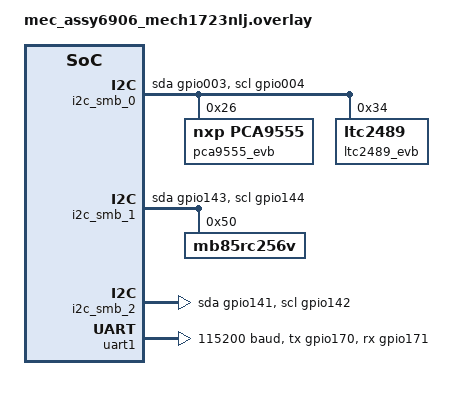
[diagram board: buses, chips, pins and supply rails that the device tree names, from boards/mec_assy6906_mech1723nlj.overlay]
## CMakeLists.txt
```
#-------------------------------------------------------------------------------
# Zephyr Example Application
#
# Copyright (c) 2025 Microchip Technology Inc.
# SPDX-License-Identifier: Apache-2.0

cmake_minimum_required(VERSION 3.13.1)
find_package(Zephyr REQUIRED HINTS $ENV{ZEPHYR_BASE})

project(app LANGUAGES C)

target_sources(app PRIVATE src/main.c)
target_sources_ifdef(CONFIG_I2C_TARGET app PRIVATE src/app_i2c_target1.c)
```

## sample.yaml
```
# This file is provided so that the application can be compiled using Twister,
# the Zephyr testing tool. In this file, multiple combinations can be specified,
# so that you can easily test all of them locally or in CI.
sample:
  description: Example I2C application
  name: example-i2c-application
common:
  build_only: true
  platform_allow:
    - mec_assy6941/mec1743_qlj
    - mec_assy6941/mec1743_qsz
    - mec_assy6941/mec1753_qlj
    - mec_assy6941/mec1753_qsz
tests:
  app.default: {}
  app.debug:
    extra_overlay_confs:
      - debug.conf
```

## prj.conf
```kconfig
# Copyright (c) 2025 Microchip Technology Inc.
# SPDX-License-Identifier: Apache-2.0
#
# This file contains selected Kconfig options for the application.

CONFIG_LOG=y
CONFIG_LOG_MODE_IMMEDIATE=y
CONFIG_LOG_BACKEND_UART=y

CONFIG_DMA=y

CONFIG_I2C=y
#CONFIG_I2C_CALLBACK=y

# CONFIG_DEBUG=y
```

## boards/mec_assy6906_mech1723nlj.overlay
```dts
/*
 * Copyright (c) 2025 Microchip Technology Inc.
 * SPDX-License-Identifier: Apache-2.0
 */

#include <zephyr/dt-bindings/gpio/gpio.h>
#include <zephyr/dt-bindings/gpio/microchip-xec-gpio.h>

/*
 * MEC5_ASSY6906 with MEC5200M-LJ part.
 * JP6 2-3 GPIO074 (BSS_STRAP) pulled-down via 10K to ground selects
 *   Boot-ROM load from Shared-SPI.
 * JP7 No jumper
 * JP23 14-15 selects GPIO055 as SHD_nCS0
 * JP42 1-2 connects 1.8V
 * JP60 2-3 VTR2 is powered by 1.8V
 * NOTE: VTR3 is always 1.8V
 *
 * GPIO175/CMP_VOUT1/PWM8_ALT on schematic, LED4 on silkscreen.
 *
 * I2C00_SDA/SCL = GPIO003/004
 * Install Jumper JP15 4-5 to route GPIO004 as I2C00_SCL/UART2_DCD
 * Install Jumper JP15 7-8 to route GPIO003 as I2C00_SDA/UART2_RI
 * Install Jumper JP27 34-35 to select I2C00_SDA
 * Install Jumper JP27 31-32 to select I2C00_SCL
 * Install Jumper JP70 19-20 7.5K pull-up to VTR1 for I2C00_SDA
 * Install Jumper JP70 21-22 7.5K pull-up to VTR1 for I2C00_SCL
 *
 * U4 is PCA9555 I2C GPIO expander
 * JP52 1-2 use +3.3V_STBY
 * JP61 1-2, 3-4 connect I2C00_SCL and I2C00_SDA to EXTERNAL_SCLK/SDATA
 * JP55 selects I2C address
 * 1-2 = A0, 3-4 = A1, 5-6 = A2 all pull-up by default. Install jumper to ground signals.
 * Installed jumper on JP55 1-2. I2C Address = 0x26
 *
 * U19 is LTC2489 I2C 4-channel delta-sigma ADC
 * Address select pins CA0, CA1 both pulled high. Install jumpers to ground signals.
 * Installed jumpers on JP124 1-2 and 3-4. I2C Address = 0x34
 *
 * Attached Fujitsu MB85RC256V I2C FRAM demo board to 6-pin header J17
 * AdaFruit I2C FRAM breakout board.
 * NOTE: removed demo board 1K pulls on SCL and SDA. Using EVB pulls on SCL/SDA.
 * This device allows testing of larger I2C messages and breaking up large transactions
 * into multiple message buffers.
 * FRAM board power -> J17-5 VTR1 (3.3V)
 * FRAM board GND   -> J17-6 GND
 * FRAM board SCL   -> J17-1 I2C00_SCL
 * FRAM board SDA   -> J17-3 I2C00_SDA
 * FRAM address pins A0, A1, A2 are internally pulled-down.
 * I2C Address = 1010_A2_A1_A0 = 0x50 (default)
 *
 * JP14 3x6
 * 4-5 GPIO004 I2C00_SCL
 * 7-8 GPIO003 I2C00_SDA
 *
 * JP58
 * 1-2 GPIO004 I2C00_SCL to EXTERNAL_SCLK
 * 3-4 GPIO003 I2C00_SDA to EXTERNAL_SDA
 *
 * EXTERNAL_SCLK, EXTERNAL_SDA are connected to
 * U4 PCA9555PW I2C to GPIO expander
 * U19 LTC2489CDE ADC
 *
 * JP17 3x8
 *  19-20 GPIO144 I2C04_SCL
 *  22-23 GPIO143 I2C04_SDA
 *
 * JP22 3x4
 *  1-2 GPIO144 I2C04_SCL
 *  4-5 GPIO143 I2C04_SDA
 *
 * pull-ups. For I2C_TARGET tests only connect one set up pull-ups
 * since we are connecting I2C port 0 and port 4 together.
 * JP68 19-20 I2C00_SDA connected via 7.5K pull-up to VTR1
 * JP68 21-22 I2C00_SCL connected via 7.5K pull-up to VTR1
 * JP70 25-26 I2C04_SDA connected via 7.5K pull-up to VTR1
 * JP70 27-28 I2C04_SCL connected via 7.5K pull-up to VTR1
 *
 * I2C Port 4 is on VTR1. 1x6 header J14
 * 1 = I2C04_SCL
 * 2, 6 = GND
 * 3 = I2C04_SDA
 * 4 = NC
 * 5 = VTR1
 *
 * I2C Port 0 is on VTR1. 1x6 header J10
 * 1 = I2C00_SCL
 * 2, 6 = GND
 * 3 = I2C00_SDA
 * 4 = NC
 * 5 = VTR1
 *
 * Use I2C00 port on I2C00 device as external Controller
 * Use I2C04 port on I2C01 device as target
 * Add wires:
 * J17-1 to J12-1
 * J17-3 to J12-3
 * Disable pull-ups on I2C00 port:
 * Remove jumpers JP70 19-20 and 21-22
 */

/ {
	aliases {
		i2c0 = &i2c_smb_0;
		i2c-0 = &i2c_smb_0;
		i2c1 = &i2c_smb_1;
		i2c-1 = &i2c_smb_1;
		i2c2 = &i2c_smb_2;
		i2c-2 = &i2c_smb_2;
	};

	zephyr,user {
		pinctrl-0 = <&tst_clk_out_gpio060>;
		pinctrl-names = "default";
	};
};

&dmac {
	compatible = "microchip,mec5-dmac";
	status = "okay";
};

/* I2C Port 0 */
/*	drive-strength = "4x"; */
&i2c00_scl_gpio004 {
	drive-open-drain;
	output-enable;
	output-high;
	drive-strength = "4x";
};
&i2c00_sda_gpio003 {
	drive-open-drain;
	output-enable;
	output-high;
	drive-strength = "4x";
};

/* I2C Port 4 */
&i2c04_sda_gpio143 {
	drive-open-drain;
	output-enable;
	output-high;
	drive-strength = "4x";
};
&i2c04_scl_gpio144 {
	drive-open-drain;
	output-enable;
	output-high;
	drive-strength = "4x";
};

/* I2C Port 5 */
&i2c05_sda_gpio141 {
	drive-open-drain;
	output-enable;
	output-high;
	drive-strength = "4x";
};
&i2c05_scl_gpio142 {
	drive-open-drain;
	output-enable;
	output-high;
	drive-strength = "4x";
};

&i2c_smb_0 {
	compatible = "microchip,mec5-i2c";
	status = "okay";
	port_sel = < 0 >;
	sda-gpios = < MCHP_GPIO_DECODE_003 0 >;
	scl-gpios = < MCHP_GPIO_DECODE_004 0 >;
	pinctrl-0 = < &i2c00_sda_gpio003 &i2c00_scl_gpio004 >;
	pinctrl-names = "default";

	pca9555_evb: pca9555@26 {
		/* Zephyr will load NXP PCA9555 driver after MEC5 I2C because it calls MEC5 I2C during init */
		compatible = "nxp,pca9555";
		reg = <0x26>;
		ngpios = <16>;
		gpio-controller;
		#gpio-cells = <2>;
	};

	ltc2489_evb: ltc2489@34 {
		/* No Zephyr driver exists */
		reg = <0x34>;
		#io-channels-cells = <1>;
	};
};

&i2c_smb_1 {
	compatible = "microchip,mec5-i2c";
	status = "okay";
	port_sel = < 4 >;
	sda-gpios = < MCHP_GPIO_DECODE_143 0 >;
	scl-gpios = < MCHP_GPIO_DECODE_144 0 >;
	pinctrl-0 = < &i2c04_sda_gpio143 &i2c04_scl_gpio144 >;
	pinctrl-names = "default";

	/* External Fujitsu MB85RC256V 256KB (32K x 8) FRAM */
	mb85rc256v: mb85rc256v@50 {
		/* No Zephyr driver exists */
		reg = <0x50>;
	};
};

&i2c_smb_2 {
	compatible = "microchip,mec5-i2c-nl";
	interrupts = <22 3>; /* lower priority than default priority of DMA channels */
	port_sel = < 5 >;
	pinctrl-0 = < &i2c05_sda_gpio141 &i2c05_scl_gpio142 >;
	pinctrl-names = "default";
	dmas = <&dmac 4 0x5>, <&dmac 5 0x4>;
	dma-names = "cm", "tm";
	status = "okay";
};

&uart1 {
	current-speed = <115200>;
	status = "okay";
	pinctrl-0 = <&uart1_tx_gpio170 &uart1_rx_gpio171>;
	pinctrl-names = "default";
};
```

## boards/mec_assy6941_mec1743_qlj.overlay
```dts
/*
 * Copyright (c) 2025 Microchip Technology Inc.
 * SPDX-License-Identifier: Apache-2.0
 */

#include <zephyr/dt-bindings/gpio/gpio.h>
#include <zephyr/dt-bindings/gpio/microchip-xec-gpio.h>

/*
 * MEC5_ASSY6941 with MEC1743Q-LJ part.
 * JP8 1-2 GPIO055 (BSS_STRAP) pulled-down via 10K to ground selects
 *   Boot-ROM load from eSPI
 * JP7 No jumper
 * JP18 14-15 selects GPIO055 as SHD_nCS0
 * JP45 1-2 connects 1.8V
 * JP62 2-3 and JP68 3-4 VTR2 is powered by 1.8V
 * NOTE: VTR3 is always 1.8V
 *
 * GPIO175/CMP_VOUT1/PWM8_ALT on schematic, LED4 on silkscreen.
 *
 * I2C00_SDA/SCL = GPIO003/004
 * Install Jumper JP15 4-5 to route GPIO004 as I2C00_SCL/UART2_DCD
 * Install Jumper JP15 7-8 to route GPIO003 as I2C00_SDA/UART2_RI
 * Install Jumper JP27 34-35 to select I2C00_SDA
 * Install Jumper JP27 31-32 to select I2C00_SCL
 * Install Jumper JP70 19-20 7.5K pull-up to VTR1 for I2C00_SDA
 * Install Jumper JP70 21-22 7.5K pull-up to VTR1 for I2C00_SCL
 *
 * JP61
 * 1-2 GPIO004 I2C00_SCL to EXTERNAL_SCLK
 * 3-4 GPIO003 I2C00_SDA to EXTERNAL_SDA
 *
 * I2C04_SDA/SCL = GPIO143/144
 * Install Jumper JP20 1-2 to route GPIO144 as I2C04_SCL/UART0_nRTS
 * Install Jumper JP20 4-5 to route GPIO143 as I2C04_SDA/UART0_CTS
 * Install Jumper JP21 13-14 to select I2C04_SCL
 * Install Jumper JP21 25-26 to select I2C04_SDA
 * Install Jumper JP71 25-26 7.5K pull-up to VTR1 for I2C04_SDA
 * Install Jumper JP71 27-28 7.5K pull-up to VTR1 for I2C04_SCL
 *
 * EVB I2C target devices on EXTERNAL_SCLK/SDA bus.
 * U4 is PCA9555 I2C GPIO expander
 * JP52 1-2 use +3.3V_STBY
 * JP61 1-2, 3-4 connect I2C00_SCL and I2C00_SDA to EXTERNAL_SCLK/SDATA
 * JP55 selects I2C address
 * 1-2 = A0, 3-4 = A1, 5-6 = A2 all pull-up by default. Install jumper to ground signals.
 * Installed jumper on JP55 1-2. I2C Address = 0x26
 *
 * U19 is LTC2489 I2C 4-channel delta-sigma ADC
 * Address select pins CA0, CA1 both pulled high. Install jumpers to ground signals.
 * Installed jumpers on JP124 1-2 and 3-4. I2C Address = 0x34
 *
 * Added target device to I2C04 using header J17
 * Attached Fujitsu MB85RC256V I2C FRAM demo board to 6-pin header J17
 * AdaFruit I2C FRAM breakout board.
 * NOTE: removed demo board 1K pulls on SCL and SDA. Using EVB pulls on SCL/SDA.
 * This device allows testing of larger I2C messages and breaking up large transactions
 * into multiple message buffers.
 * FRAM board power -> J17-5 VTR1 (3.3V)
 * FRAM board GND   -> J17-6 GND
 * FRAM board SCL   -> J17-1 I2C00_SCL
 * FRAM board SDA   -> J17-3 I2C00_SDA
 * FRAM address pins A0, A1, A2 are internally pulled-down.
 * I2C Address = 1010_A2_A1_A0 = 0x50 (default)
 *
 * I2C Port 4 is on VTR1. 1x6 header J17
 * 1 = I2C04_SCL
 * 2, 6 = GND
 * 3 = I2C04_SDA
 * 4 = NC
 * 5 = VTR1
 *
 * I2C Port 0 is on VTR1. 1x6 header J12
 * 1 = I2C00_SCL
 * 2, 6 = GND
 * 3 = I2C00_SDA
 * 4 = NC
 * 5 = VTR1
 *
 * Use I2C00 port on I2C00 device as external Controller
 * Use I2C04 port on I2C01 device as target
 * Add wires:
 * J17-1 to J12-1
 * J17-3 to J12-3
 * Disable pull-ups on I2C00 port:
 * Remove jumpers JP70 19-20 and 21-22
 */

/ {
	aliases {
		i2c0 = &i2c_smb_0;
		i2c-0 = &i2c_smb_0;
		i2c1 = &i2c_smb_1;
		i2c-1 = &i2c_smb_1;
		i2c2 = &i2c_smb_2;
		i2c-2 = &i2c_smb_2;
	};

	zephyr,user {
		pinctrl-0 = <&tst_clk_out_gpio060>;
		pinctrl-names = "default";
	};
};

&dmac {
	compatible = "microchip,mec5-dmac";
	status = "okay";
};

/* I2C Port 0 */
/*	drive-strength = "4x"; */
&i2c00_scl_gpio004 {
	drive-open-drain;
	output-enable;
	output-high;
	drive-strength = "4x";
};
&i2c00_sda_gpio003 {
	drive-open-drain;
	output-enable;
	output-high;
	drive-strength = "4x";
};

/* I2C Port 4 */
&i2c04_sda_gpio143 {
	drive-open-drain;
	output-enable;
	output-high;
	drive-strength = "4x";
};
&i2c04_scl_gpio144 {
	drive-open-drain;
	output-enable;
	output-high;
	drive-strength = "4x";
};

/* I2C Port 5 */
&i2c05_sda_gpio141 {
	drive-open-drain;
	output-enable;
	output-high;
	drive-strength = "4x";
};
&i2c05_scl_gpio142 {
	drive-open-drain;
	output-enable;
	output-high;
	drive-strength = "4x";
};

&i2c_smb_0 {
	compatible = "microchip,mec5-i2c";
	status = "okay";
	port_sel = < 0 >;
	sda-gpios = < MCHP_GPIO_DECODE_003 0 >;
	scl-gpios = < MCHP_GPIO_DECODE_004 0 >;
	pinctrl-0 = < &i2c00_sda_gpio003 &i2c00_scl_gpio004 >;
	pinctrl-names = "default";

	pca9555_evb: pca9555@26 {
		/* Zephyr will load NXP PCA9555 driver after MEC5 I2C because it calls MEC5 I2C during init */
		compatible = "nxp,pca9555";
		reg = <0x26>;
		ngpios = <16>;
		gpio-controller;
		#gpio-cells = <2>;
	};

	ltc2489_evb: ltc2489@34 {
		/* No Zephyr driver exists */
		reg = <0x34>;
		#io-channels-cells = <1>;
	};
};

&i2c_smb_1 {
	compatible = "microchip,mec5-i2c";
	status = "okay";
	port_sel = < 4 >;
	sda-gpios = < MCHP_GPIO_DECODE_143 0 >;
	scl-gpios = < MCHP_GPIO_DECODE_144 0 >;
	pinctrl-0 = < &i2c04_sda_gpio143 &i2c04_scl_gpio144 >;
	pinctrl-names = "default";

	/* External Fujitsu MB85RC256V 256KB (32K x 8) FRAM */
	mb85rc256v: mb85rc256v@50 {
		/* No Zephyr driver exists */
		reg = <0x50>;
	};
};

&i2c_smb_2 {
	compatible = "microchip,mec5-i2c-nl";
	interrupts = <22 3>; /* lower priority than default priority of DMA channels */
	port_sel = < 5 >;
	pinctrl-0 = < &i2c05_sda_gpio141 &i2c05_scl_gpio142 >;
	pinctrl-names = "default";
	dmas = <&dmac 4 0x5>, <&dmac 5 0x4>;
	dma-names = "cm", "tm";
	status = "okay";
};

&uart1 {
	current-speed = <115200>;
	status = "okay";
	pinctrl-0 = <&uart1_tx_gpio170 &uart1_rx_gpio171>;
	pinctrl-names = "default";
};
```

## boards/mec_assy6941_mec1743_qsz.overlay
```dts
/*
 * Copyright (c) 2025 Microchip Technology Inc.
 * SPDX-License-Identifier: Apache-2.0
 */

#include <zephyr/dt-bindings/gpio/gpio.h>
#include <zephyr/dt-bindings/gpio/microchip-xec-gpio.h>

/*
 * MEC5_ASSY6941 with MEC1743Q-SZ part.
 * JP8 1-2 GPIO055 (BSS_STRAP) pulled-down via 10K to ground selects
 *   Boot-ROM load from eSPI
 * JP7 No jumper
 * JP18 14-15 selects GPIO055 as SHD_nCS0
 * JP45 1-2 connects 1.8V
 * JP62 2-3 and JP68 3-4 VTR2 is powered by 1.8V
 * NOTE: VTR3 is always 1.8V
 *
 * GPIO175/CMP_VOUT1/PWM8_ALT on schematic, LED4 on silkscreen.
 *
 * I2C00_SDA/SCL = GPIO003/004
 * Install Jumper JP15 4-5 to route GPIO004 as I2C00_SCL/UART2_DCD
 * Install Jumper JP15 7-8 to route GPIO003 as I2C00_SDA/UART2_RI
 * Install Jumper JP27 34-35 to select I2C00_SDA
 * Install Jumper JP27 31-32 to select I2C00_SCL
 * Install Jumper JP70 19-20 7.5K pull-up to VTR1 for I2C00_SDA
 * Install Jumper JP70 21-22 7.5K pull-up to VTR1 for I2C00_SCL
 *
 * JP61
 * 1-2 GPIO004 I2C00_SCL to EXTERNAL_SCLK
 * 3-4 GPIO003 I2C00_SDA to EXTERNAL_SDA
 *
 * I2C04_SDA/SCL = GPIO143/144
 * Install Jumper JP20 1-2 to route GPIO144 as I2C04_SCL/UART0_nRTS
 * Install Jumper JP20 4-5 to route GPIO143 as I2C04_SDA/UART0_CTS
 * Install Jumper JP21 13-14 to select I2C04_SCL
 * Install Jumper JP21 25-26 to select I2C04_SDA
 * Install Jumper JP71 25-26 7.5K pull-up to VTR1 for I2C04_SDA
 * Install Jumper JP71 27-28 7.5K pull-up to VTR1 for I2C04_SCL
 *
 * EVB I2C target devices on EXTERNAL_SCLK/SDA bus.
 * U4 is PCA9555 I2C GPIO expander
 * JP52 1-2 use +3.3V_STBY
 * JP61 1-2, 3-4 connect I2C00_SCL and I2C00_SDA to EXTERNAL_SCLK/SDATA
 * JP55 selects I2C address
 * 1-2 = A0, 3-4 = A1, 5-6 = A2 all pull-up by default. Install jumper to ground signals.
 * Installed jumper on JP55 1-2. I2C Address = 0x26
 *
 * U19 is LTC2489 I2C 4-channel delta-sigma ADC
 * Address select pins CA0, CA1 both pulled high. Install jumpers to ground signals.
 * Installed jumpers on JP124 1-2 and 3-4. I2C Address = 0x34
 *
 * Added target device to I2C04 using header J17
 * Attached Fujitsu MB85RC256V I2C FRAM demo board to 6-pin header J17
 * AdaFruit I2C FRAM breakout board.
 * NOTE: removed demo board 1K pulls on SCL and SDA. Using EVB pulls on SCL/SDA.
 * This device allows testing of larger I2C messages and breaking up large transactions
 * into multiple message buffers.
 * FRAM board power -> J17-5 VTR1 (3.3V)
 * FRAM board GND   -> J17-6 GND
 * FRAM board SCL   -> J17-1 I2C00_SCL
 * FRAM board SDA   -> J17-3 I2C00_SDA
 * FRAM address pins A0, A1, A2 are internally pulled-down.
 * I2C Address = 1010_A2_A1_A0 = 0x50 (default)
 *
 * I2C Port 4 is on VTR1. 1x6 header J17
 * 1 = I2C04_SCL
 * 2, 6 = GND
 * 3 = I2C04_SDA
 * 4 = NC
 * 5 = VTR1
 *
 * I2C Port 0 is on VTR1. 1x6 header J12
 * 1 = I2C00_SCL
 * 2, 6 = GND
 * 3 = I2C00_SDA
 * 4 = NC
 * 5 = VTR1
 *
 * Use I2C00 port on I2C00 device as external Controller
 * Use I2C04 port on I2C01 device as target
 * Add wires:
 * J17-1 to J12-1
 * J17-3 to J12-3
 * Disable pull-ups on I2C00 port:
 * Remove jumpers JP70 19-20 and 21-22
 */

/ {
	aliases {
		i2c0 = &i2c_smb_0;
		i2c-0 = &i2c_smb_0;
		i2c1 = &i2c_smb_1;
		i2c-1 = &i2c_smb_1;
		i2c2 = &i2c_smb_2;
		i2c-2 = &i2c_smb_2;
	};

	zephyr,user {
		pinctrl-0 = <&tst_clk_out_gpio060>;
		pinctrl-names = "default";
	};
};

&dmac {
	compatible = "microchip,mec5-dmac";
	status = "okay";
};

/* I2C Port 0 */
/*	drive-strength = "4x"; */
&i2c00_scl_gpio004 {
	drive-open-drain;
	output-enable;
	output-high;
	drive-strength = "4x";
};
&i2c00_sda_gpio003 {
	drive-open-drain;
	output-enable;
	output-high;
	drive-strength = "4x";
};

/* I2C Port 4 */
&i2c04_sda_gpio143 {
	drive-open-drain;
	output-enable;
	output-high;
	drive-strength = "4x";
};
&i2c04_scl_gpio144 {
	drive-open-drain;
	output-enable;
	output-high;
	drive-strength = "4x";
};

/* I2C Port 5 */
&i2c05_sda_gpio141 {
	drive-open-drain;
	output-enable;
	output-high;
	drive-strength = "4x";
};
&i2c05_scl_gpio142 {
	drive-open-drain;
	output-enable;
	output-high;
	drive-strength = "4x";
};

&i2c_smb_0 {
	compatible = "microchip,mec5-i2c";
	status = "okay";
	port_sel = < 0 >;
	sda-gpios = < MCHP_GPIO_DECODE_003 0 >;
	scl-gpios = < MCHP_GPIO_DECODE_004 0 >;
	pinctrl-0 = < &i2c00_sda_gpio003 &i2c00_scl_gpio004 >;
	pinctrl-names = "default";

	pca9555_evb: pca9555@26 {
		/* Zephyr will load NXP PCA9555 driver after MEC5 I2C because it calls MEC5 I2C during init */
		compatible = "nxp,pca9555";
		reg = <0x26>;
		ngpios = <16>;
		gpio-controller;
		#gpio-cells = <2>;
	};

	ltc2489_evb: ltc2489@34 {
		/* No Zephyr driver exists */
		reg = <0x34>;
		#io-channels-cells = <1>;
	};
};

&i2c_smb_1 {
	compatible = "microchip,mec5-i2c";
	status = "okay";
	port_sel = < 4 >;
	sda-gpios = < MCHP_GPIO_DECODE_143 0 >;
	scl-gpios = < MCHP_GPIO_DECODE_144 0 >;
	pinctrl-0 = < &i2c04_sda_gpio143 &i2c04_scl_gpio144 >;
	pinctrl-names = "default";

	/* External Fujitsu MB85RC256V 256KB (32K x 8) FRAM */
	mb85rc256v: mb85rc256v@50 {
		/* No Zephyr driver exists */
		reg = <0x50>;
	};
};

&i2c_smb_2 {
	compatible = "microchip,mec5-i2c-nl";
	interrupts = <22 3>; /* lower priority than default priority of DMA channels */
	port_sel = < 5 >;
	pinctrl-0 = < &i2c05_sda_gpio141 &i2c05_scl_gpio142 >;
	pinctrl-names = "default";
	dmas = <&dmac 4 0x5>, <&dmac 5 0x4>;
	dma-names = "cm", "tm";
	status = "okay";
};

&uart1 {
	current-speed = <115200>;
	status = "okay";
	pinctrl-0 = <&uart1_tx_gpio170 &uart1_rx_gpio171>;
	pinctrl-names = "default";
};
```

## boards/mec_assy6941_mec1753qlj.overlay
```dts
/*
 * Copyright (c) 2025 Microchip Technology Inc.
 * SPDX-License-Identifier: Apache-2.0
 */

#include <zephyr/dt-bindings/gpio/gpio.h>
#include <zephyr/dt-bindings/gpio/microchip-xec-gpio.h>

/*
 * MEC5_ASSY6941 with MEC1753Q-LJ part.
 * JP8 1-2 GPIO055 (BSS_STRAP) pulled-down via 10K to ground selects
 *   Boot-ROM load from eSPI
 * JP7 No jumper
 * JP18 14-15 selects GPIO055 as SHD_nCS0
 * JP45 1-2 connects 1.8V
 * JP62 2-3 and JP68 3-4 VTR2 is powered by 1.8V
 * NOTE: VTR3 is always 1.8V
 *
 * GPIO175/CMP_VOUT1/PWM8_ALT on schematic, LED4 on silkscreen.
 *
 * I2C00_SDA/SCL = GPIO003/004
 * Install Jumper JP15 4-5 to route GPIO004 as I2C00_SCL/UART2_DCD
 * Install Jumper JP15 7-8 to route GPIO003 as I2C00_SDA/UART2_RI
 * Install Jumper JP27 34-35 to select I2C00_SDA
 * Install Jumper JP27 31-32 to select I2C00_SCL
 * Install Jumper JP70 19-20 7.5K pull-up to VTR1 for I2C00_SDA
 * Install Jumper JP70 21-22 7.5K pull-up to VTR1 for I2C00_SCL
 *
 * JP61
 * 1-2 GPIO004 I2C00_SCL to EXTERNAL_SCLK
 * 3-4 GPIO003 I2C00_SDA to EXTERNAL_SDA
 *
 * I2C04_SDA/SCL = GPIO143/144
 * Install Jumper JP20 1-2 to route GPIO144 as I2C04_SCL/UART0_nRTS
 * Install Jumper JP20 4-5 to route GPIO143 as I2C04_SDA/UART0_CTS
 * Install Jumper JP21 13-14 to select I2C04_SCL
 * Install Jumper JP21 25-26 to select I2C04_SDA
 * Install Jumper JP71 25-26 7.5K pull-up to VTR1 for I2C04_SDA
 * Install Jumper JP71 27-28 7.5K pull-up to VTR1 for I2C04_SCL
 *
 * EVB I2C target devices on EXTERNAL_SCLK/SDA bus.
 * U4 is PCA9555 I2C GPIO expander
 * JP52 1-2 use +3.3V_STBY
 * JP61 1-2, 3-4 connect I2C00_SCL and I2C00_SDA to EXTERNAL_SCLK/SDATA
 * JP55 selects I2C address
 * 1-2 = A0, 3-4 = A1, 5-6 = A2 all pull-up by default. Install jumper to ground signals.
 * Installed jumper on JP55 1-2. I2C Address = 0x26
 *
 * U19 is LTC2489 I2C 4-channel delta-sigma ADC
 * Address select pins CA0, CA1 both pulled high. Install jumpers to ground signals.
 * Installed jumpers on JP124 1-2 and 3-4. I2C Address = 0x34
 *
 * Added target device to I2C04 using header J17
 * Attached Fujitsu MB85RC256V I2C FRAM demo board to 6-pin header J17
 * AdaFruit I2C FRAM breakout board.
 * NOTE: removed demo board 1K pulls on SCL and SDA. Using EVB pulls on SCL/SDA.
 * This device allows testing of larger I2C messages and breaking up large transactions
 * into multiple message buffers.
 * FRAM board power -> J17-5 VTR1 (3.3V)
 * FRAM board GND   -> J17-6 GND
 * FRAM board SCL   -> J17-1 I2C00_SCL
 * FRAM board SDA   -> J17-3 I2C00_SDA
 * FRAM address pins A0, A1, A2 are internally pulled-down.
 * I2C Address = 1010_A2_A1_A0 = 0x50 (default)
 *
 * I2C Port 4 is on VTR1. 1x6 header J17
 * 1 = I2C04_SCL
 * 2, 6 = GND
 * 3 = I2C04_SDA
 * 4 = NC
 * 5 = VTR1
 *
 * I2C Port 0 is on VTR1. 1x6 header J12
 * 1 = I2C00_SCL
 * 2, 6 = GND
 * 3 = I2C00_SDA
 * 4 = NC
 * 5 = VTR1
 *
 * Use I2C00 port on I2C00 device as external Controller
 * Use I2C04 port on I2C01 device as target
 * Add wires:
 * J17-1 to J12-1
 * J17-3 to J12-3
 * Disable pull-ups on I2C00 port:
 * Remove jumpers JP70 19-20 and 21-22
 */

/ {
	aliases {
		i2c0 = &i2c_smb_0;
		i2c-0 = &i2c_smb_0;
		i2c1 = &i2c_smb_1;
		i2c-1 = &i2c_smb_1;
		i2c2 = &i2c_smb_2;
		i2c-2 = &i2c_smb_2;
	};

	zephyr,user {
		pinctrl-0 = <&tst_clk_out_gpio060>;
		pinctrl-names = "default";
	};
};

&dmac {
	compatible = "microchip,mec5-dmac";
	status = "okay";
};

/* I2C Port 0 */
/*	drive-strength = "4x"; */
&i2c00_scl_gpio004 {
	drive-open-drain;
	output-enable;
	output-high;
	drive-strength = "4x";
};
&i2c00_sda_gpio003 {
	drive-open-drain;
	output-enable;
	output-high;
	drive-strength = "4x";
};

/* I2C Port 4 */
&i2c04_sda_gpio143 {
	drive-open-drain;
	output-enable;
	output-high;
	drive-strength = "4x";
};
&i2c04_scl_gpio144 {
	drive-open-drain;
	output-enable;
	output-high;
	drive-strength = "4x";
};

/* I2C Port 5 */
&i2c05_sda_gpio141 {
	drive-open-drain;
	output-enable;
	output-high;
	drive-strength = "4x";
};
&i2c05_scl_gpio142 {
	drive-open-drain;
	output-enable;
	output-high;
	drive-strength = "4x";
};

&i2c_smb_0 {
	compatible = "microchip,mec5-i2c";
	status = "okay";
	port_sel = < 0 >;
	sda-gpios = < MCHP_GPIO_DECODE_003 0 >;
	scl-gpios = < MCHP_GPIO_DECODE_004 0 >;
	pinctrl-0 = < &i2c00_sda_gpio003 &i2c00_scl_gpio004 >;
	pinctrl-names = "default";

	pca9555_evb: pca9555@26 {
		/* Zephyr will load NXP PCA9555 driver after MEC5 I2C because it calls MEC5 I2C during init */
		compatible = "nxp,pca9555";
		reg = <0x26>;
		ngpios = <16>;
		gpio-controller;
		#gpio-cells = <2>;
	};

	ltc2489_evb: ltc2489@34 {
		/* No Zephyr driver exists */
		reg = <0x34>;
		#io-channels-cells = <1>;
	};
};

&i2c_smb_1 {
	compatible = "microchip,mec5-i2c";
	status = "okay";
	port_sel = < 4 >;
	sda-gpios = < MCHP_GPIO_DECODE_143 0 >;
	scl-gpios = < MCHP_GPIO_DECODE_144 0 >;
	pinctrl-0 = < &i2c04_sda_gpio143 &i2c04_scl_gpio144 >;
	pinctrl-names = "default";

	/* External Fujitsu MB85RC256V 256KB (32K x 8) FRAM */
	mb85rc256v: mb85rc256v@50 {
		/* No Zephyr driver exists */
		reg = <0x50>;
	};
};

&i2c_smb_2 {
	compatible = "microchip,mec5-i2c-nl";
	interrupts = <22 3>; /* lower priority than default priority of DMA channels */
	port_sel = < 5 >;
	pinctrl-0 = < &i2c05_sda_gpio141 &i2c05_scl_gpio142 >;
	pinctrl-names = "default";
	dmas = <&dmac 4 0x5>, <&dmac 5 0x4>;
	dma-names = "cm", "tm";
	status = "okay";
};

&uart1 {
	current-speed = <115200>;
	status = "okay";
	pinctrl-0 = <&uart1_tx_gpio170 &uart1_rx_gpio171>;
	pinctrl-names = "default";
};
```

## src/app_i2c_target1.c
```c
/*
 * Copyright (c) 2025 Microchip Technology Inc.
 * SPDX-License-Identifier: Apache-2.0
 */

#include <errno.h>
#include <stdint.h>
#include <string.h>
#include <soc.h>

#include <zephyr/device.h>
#include <zephyr/devicetree.h>
#include <zephyr/kernel.h>
#include <zephyr/drivers/gpio.h>
#include <zephyr/drivers/i2c.h>
#include <zephyr/drivers/i2c/mchp_mec5_i2c.h>
#include <zephyr/drivers/led.h>
#include <zephyr/drivers/pinctrl.h>
#include <zephyr/drivers/spi.h>
#include <zephyr/sys/atomic.h>
#include <zephyr/sys/sys_io.h>

#include <zephyr/logging/log_ctrl.h>
#include <zephyr/logging/log.h>
LOG_MODULE_DECLARE(main);

#include <app/drivers/mchp_mec5_i2c_nl.h>

#include <device_mec5.h>
#include <mec_i2c_api.h>
#include <mec_retval.h>

#include "app_config.h"
#include "app_i2c_target1.h"

#define I2C_TARGET1_THREAD_STACK_SIZE 1024
#define I2C_TARGET1_THREAD_PRIORITY 5

#define I2C_TARGET1_CAP_STATE_ENTRIES 16

#define I2C_TARGET1_RX_BUF_SIZE 32
#define I2C_TARGET1_TX_BUF_SIZE 32

enum i2c_kevents {
	I2C_TARGET_EVENT_BUF_WR_REC_POS = 0,
	I2C_TARGET_EVENT_BUF_RD_REQ_POS,
	I2C_TARGET_EVENT_STOP_POS,
};

#define I2C_KEVENTS_ALL (BIT(I2C_TARGET_EVENT_BUF_WR_REC_POS) |\
			 BIT(I2C_TARGET_EVENT_BUF_RD_REQ_POS) | BIT(I2C_TARGET_EVENT_STOP_POS))

static void i2c_target1_thread(void *p1, void *p2, void *p3);
static int i2c_target1_stop_cb(struct i2c_target_config *config);
static int i2c_target1_buf_rd_req(struct i2c_target_config *config, uint8_t **ptr, uint32_t *len);
static void i2c_target1_buf_wr_rec(struct i2c_target_config *config, uint8_t *ptr, uint32_t len);

const static struct i2c_target_callbacks target1_cbs = {
	.write_requested = NULL,
	.read_requested = NULL,
	.write_received = NULL,
	.read_processed = NULL,
#ifdef CONFIG_I2C_TARGET_BUFFER_MODE
	.buf_write_received = i2c_target1_buf_wr_rec,
	.buf_read_requested = i2c_target1_buf_rd_req,
#endif
	.stop = i2c_target1_stop_cb,
};

struct i2c_thread_init_info {
	const struct device *i2c_host_dev;
	const struct device *i2c_target_dev;
	uint32_t i2c_config;
	uint8_t port;
	uint8_t target_addr;
};

static struct i2c_thread_init_info t1_init_info;
static struct i2c_target_config target1_cfg;

static uint32_t rxbuf1_len;
static uint32_t txbuf1_len;

/* Buffer for data transfer to Target 1 from external I2C Host (I2C Write) */
static uint8_t rxbuf1[I2C_TARGET1_RX_BUF_SIZE];
/* Buffer for data transfer from Target 1 to external I2C Host (I2C Read) */
static uint8_t txbuf1[I2C_TARGET1_TX_BUF_SIZE];

#define I2C_TARGET_CB_ID_BUF_WR_REC 1
#define I2C_TARGET_CB_ID_BUF_RD_REQ 2
#define I2C_TARGET_CB_ID_STOP 3

struct i2c_target_cb_capture {
	uint8_t id;
	uint16_t i2c_addr;
	uint32_t len;
	uintptr_t buf_addr;
};

static volatile uint32_t cb_cap1_idx;
static volatile struct i2c_target_cb_capture cap1[I2C_TARGET1_CAP_STATE_ENTRIES];

K_THREAD_STACK_DEFINE(i2c_thread1_stack_area, I2C_TARGET1_THREAD_STACK_SIZE);
static struct k_thread i2c_thread1_data;
static k_tid_t i2c_thread1_tid;
static struct k_event t1_events;

static void reset_cap(void)
{
	cb_cap1_idx = 0;
	memset((void *)&cap1, 0, sizeof(cap1));
}

static void add_cap(uint8_t id, uint16_t i2c_addr, uint32_t len, uintptr_t baddr)
{
	uint32_t idx = cb_cap1_idx;

	if (idx < I2C_TARGET1_CAP_STATE_ENTRIES) {
		cap1[idx].id = id;
		cap1[idx].i2c_addr = i2c_addr;
		cap1[idx].len = len;
		cap1[idx].buf_addr = baddr;
		cb_cap1_idx++;
	}
}

static void pr_capture(void)
{
	uint32_t idx = cb_cap1_idx;

	LOG_INF("PR capture: index = %u", idx);

	idx = MIN(idx, I2C_TARGET1_CAP_STATE_ENTRIES);

	for (uint8_t i = 0; i < idx; i++) {
		volatile struct i2c_target_cb_capture *c = &cap1[i];

		LOG_INF("cap1[%u]: id=%u i2c_addr=0x%0x len=%u buf_addr=0x%0lx",
			i, c->id, c->i2c_addr, c->len, c->buf_addr);
	}
}


/* Driver invokes this callback if it detects a STOP from the external I2C Host */
static volatile uint32_t t1_stop_cnt;

static int i2c_target1_stop_cb(struct i2c_target_config *config)
{
	uint16_t i2c_addr = 0xffffu;

	t1_stop_cnt++;

	if (config) {
		i2c_addr = config->address;
	}

	add_cap(I2C_TARGET_CB_ID_STOP, i2c_addr, 0, 0);

	k_event_post(&t1_events, BIT(I2C_TARGET_EVENT_STOP_POS));

	return 0;
}

/* Application supplies buffer to driver containing data for external Host to read from
 * this target.
 * Return 0 indicates data is good and let Host read.
 * Return < 0  indicates driver should ignore Host until next START.
 */
static volatile uint32_t t1_buf_rd_req_cnt;

static int i2c_target1_buf_rd_req(struct i2c_target_config *config, uint8_t **ptr, uint32_t *len)
{
	int ret = 0;
	uint16_t i2c_addr = 0xffffu;

	t1_buf_rd_req_cnt++;

	if (config) {
		i2c_addr = config->address;
	}

	if (i2c_addr == target1_cfg.address) {
		*ptr = txbuf1;
		*len = I2C_TARGET1_TX_BUF_SIZE;
	} else {
		ret = -ENXIO;
	}

	add_cap(I2C_TARGET_CB_ID_BUF_RD_REQ, i2c_addr, *len, (uintptr_t)*ptr);

	k_event_post(&t1_events, BIT(I2C_TARGET_EVENT_BUF_RD_REQ_POS));

	return ret;
}

/* Driver invokes this callback upon reception of its target address and data from the external
 * I2C Host. Driver supplies buffer of data and length in bytes.
 *
 */
static volatile uint32_t t1_buf_wr_rec_cnt;

static void i2c_target1_buf_wr_rec(struct i2c_target_config *config, uint8_t *ptr, uint32_t len)
{
	uint32_t data_len = len;
	uint16_t i2c_addr = 0xffffu;

	t1_buf_wr_rec_cnt++;
	rxbuf1_len = 0;

	if (config) {
		i2c_addr = config->address;
	}

	if (i2c_addr == target1_cfg.address) {
		if (data_len > I2C_TARGET1_RX_BUF_SIZE) {
			data_len = I2C_TARGET1_RX_BUF_SIZE;
		}
		if (ptr && data_len) {
			memcpy(rxbuf1, ptr, data_len);
			rxbuf1_len = data_len;
		}
	}

	add_cap(I2C_TARGET_CB_ID_BUF_WR_REC, i2c_addr, len, (uintptr_t)ptr);

	k_event_post(&t1_events, BIT(I2C_TARGET_EVENT_BUF_WR_REC_POS));
}

/* Configure two I2C controllers one has Host the other as target.
 * @param i2c_host_dev device structure pointer for Host I2C controller
 * @param i2c_target_dev device structure pointer for Target I2C controller
 * @param i2c_config configuration to use for both I2C controllers
 * @param I2C port to connect both controller together. Caller must have configured
 *        the SDA/SCL pins on this port.
 * @param target_addr1 First target I2C address (0 if not used).
 * @param target_addr2 Second target I2C address (0 if not used).
 * @return 0(success) else negative error code.
 *
 * Configure both for the same I2C frequency and port.
 * register target I2C address with target controller.
 */
int i2c_target1_config(const struct device *i2c_host_dev, const struct device *i2c_target_dev,
		       uint32_t i2c_config, uint8_t port, uint8_t target_addr)
{
	int ret = 0;

	if (!i2c_host_dev || !i2c_target_dev) {
		return -EINVAL;
	}

	rxbuf1_len = 0;
	txbuf1_len = 0;

	t1_stop_cnt = 0;
	t1_buf_wr_rec_cnt = 0;
	t1_buf_rd_req_cnt = 0;

	reset_cap();
	memset(&t1_init_info, 0, sizeof(t1_init_info));
	memset(txbuf1, 0, sizeof(txbuf1));
	memset(rxbuf1, 0, sizeof(rxbuf1));

	ret = i2c_mchp_configure(i2c_host_dev, i2c_config, port);
	if (ret) {
		LOG_ERR("I2C Host controller switch to port %u failed (%d)", port, ret);
		return ret;
	}

	ret = i2c_mchp_nl_configure(i2c_target_dev, i2c_config, port);
	if (ret) {
		LOG_ERR("I2C Target controller switch to port %u failed (%d)", port, ret);
		return ret;
	}

	if (target_addr) {
		memset(&target1_cfg, 0, sizeof(target1_cfg));
		target1_cfg.address = (uint16_t)target_addr;
		target1_cfg.callbacks = &target1_cbs;

		ret = i2c_target_register(i2c_target_dev, &target1_cfg);
		if (ret) {
			LOG_ERR("Register I2C target address 0x%02x failed (%d)",
				target_addr, ret);
			return ret;
		}
	}

	t1_init_info.i2c_host_dev = i2c_host_dev;
	t1_init_info.i2c_target_dev = i2c_target_dev;
	t1_init_info.i2c_config = i2c_config;
	t1_init_info.port = port;
	t1_init_info.target_addr = target_addr;

	LOG_INF("Create I2C target 1 thread");

	i2c_thread1_tid = k_thread_create(&i2c_thread1_data, i2c_thread1_stack_area,
					  K_THREAD_STACK_SIZEOF(i2c_thread1_stack_area),
					  i2c_target1_thread,
					  NULL, NULL, NULL,
					  I2C_TARGET1_THREAD_PRIORITY,
					  0, K_NO_WAIT);

	return 0;
}

#if 0
static int reconfig_i2c(void)
{
	int ret1 = i2c_mchp_nl_configure(t1_init_info.i2c_host_dev,
					 t1_init_info.i2c_config, t1_init_info.port);
	int ret2 = i2c_mchp_nl_configure(t1_init_info.i2c_target_dev,
					 t1_init_info.i2c_config, t1_init_info.port);

	if (ret1) {
		return ret1;
	}

	if (ret2) {
		return ret2;
	}

	return 0;
}
#endif

static void i2c_target1_thread(void *p1, void *p2, void *p3)
{
	uint32_t events = 0;

	LOG_INF("I2C Target 1 thread entry");

	k_event_init(&t1_events);

	while (1) {

		LOG_INF("I2C Target 1 thread wait for I2C events");
		events = k_event_wait(&t1_events, I2C_KEVENTS_ALL, true, K_MSEC(5000));
		if (events == 0) {
			LOG_INF("I2C Target 1 thread wake no events (timeout)");
			continue;
		}

		LOG_INF("I2C Target 1 thread wake: events = 0x%0x", events);

		if (events & BIT(I2C_TARGET_EVENT_BUF_WR_REC_POS)) {
			LOG_INF("I2C Target 1: Buffer write received event: evcnt=%u len = %u",
				t1_buf_wr_rec_cnt, rxbuf1_len);
			if (rxbuf1_len) {
				for (uint32_t n = 0; n < rxbuf1_len; n++) {
					LOG_INF("rxbuf1[%u] = 0x%02x", n, rxbuf1[n]);
				}
				LOG_HEXDUMP_INF(rxbuf1, rxbuf1_len, "Received data:");
			}
		}

		if (events & BIT(I2C_TARGET_EVENT_BUF_RD_REQ_POS)) {
			LOG_INF("I2C Target 1: Buffer read request event");
		}

		if (events & BIT(I2C_TARGET_EVENT_STOP_POS)) {
			LOG_INF("I2C Target 1 STOP event");
		}

		pr_capture();

	} /* while(1) */
}
```

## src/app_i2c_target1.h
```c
/*
 * Copyright (c) 2025 Microchip Technology Inc.
 * SPDX-License-Identifier: Apache-2.0
 */
#ifndef _APP_I2C_TARGET1_H_
#define _APP_I2C_TARGET1_H_

int i2c_target1_config(const struct device *i2c_host_dev, const struct device *i2c_target_dev,
			uint32_t i2c_config, uint8_t port, uint8_t target_addr);

#endif /* _APP_I2C_TARGET1_H_ */
```
